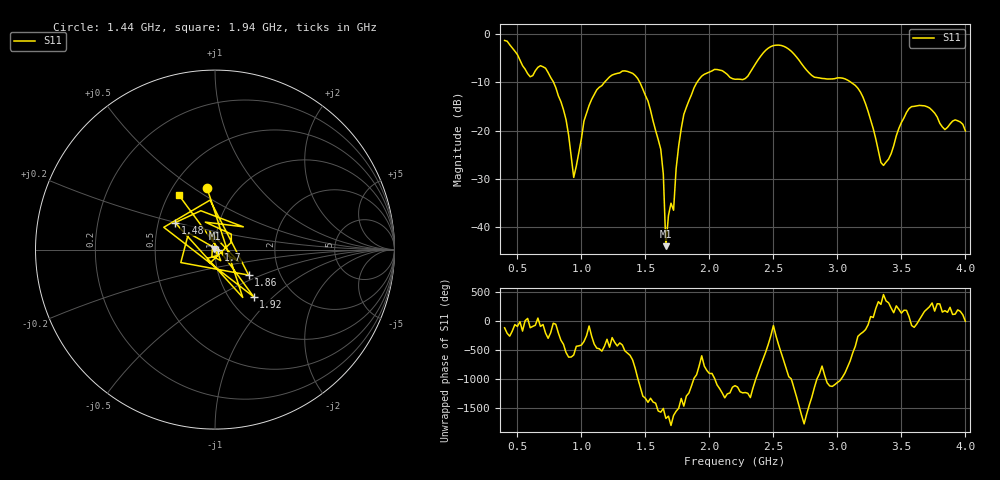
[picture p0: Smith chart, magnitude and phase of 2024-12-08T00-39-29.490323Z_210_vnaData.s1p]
!Created with skrf (http://scikit-rf.org).
# Hz S RI R 50.0
!freq ReS11 ImS11
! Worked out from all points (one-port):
!   181 points, 400 MHz to 4 GHz, reference 50 ohm
!   lowest |S11| = -44.0 dB at 1.66 GHz (marker M1), VSWR 1.01, Z = 49.7 + j0.546 ohm
!   |S11| at or under -10 dB: 782 MHz to 1.18 GHz (398.3 MHz wide, 40.6 % of centre); 1.455 GHz to 1.904 GHz (448.1 MHz wide, 26.7 % of centre); 3.105 GHz to end of sweep
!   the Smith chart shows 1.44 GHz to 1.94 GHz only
!   S11 on the Smith chart (normalised r, x): 1.44 GHz: 0.73, +0.57; 1.48 GHz: 0.61, +0.20; 1.7 GHz: 1.04, -0.00; 1.86 GHz: 1.39, -0.42; 1.92 GHz: 1.29, -0.77; 1.94 GHz: 0.56, +0.40
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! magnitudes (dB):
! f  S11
! 400 MHz  -1.3
! 600 MHz  -8.9
! 720 MHz  -7.1
! 860 MHz  -15.7
! 940 MHz  -29.7
! 1.02 GHz  -18.0
! 1.08 GHz  -13.5
! 1.3 GHz  -8.1
! 1.44 GHz  -9.2
! 1.48 GHz  -11.4
! 1.62 GHz  -23.9
! 1.64 GHz  -29.0
! 1.66 GHz  -44.0
! 1.7 GHz  -35.1
! 1.72 GHz  -36.5
! 1.76 GHz  -23.2
! 1.86 GHz  -12.6
! 1.92 GHz  -9.4
! 1.94 GHz  -8.7
! 2.2 GHz  -9.4
! 2.48 GHz  -2.6
! 2.66 GHz  -4.1
! 2.82 GHz  -9.0
! 3.1 GHz  -9.9
! 3.2 GHz  -13.1
! 3.36 GHz  -27.2
! 3.56 GHz  -15.4
! 4 GHz  -20.1
